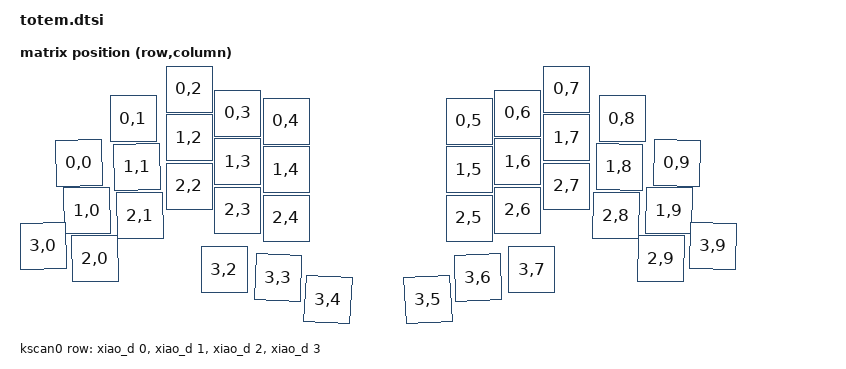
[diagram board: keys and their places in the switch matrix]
/*
 * Copyright (c) 2022 The ZMK Contributors
 *
 * SPDX-License-Identifier: MIT
 */

#include <dt-bindings/zmk/matrix_transform.h>
#include <physical_layouts.dtsi>

/ {
    chosen {
        zmk,kscan = &kscan0;
        zmk,physical-layout = &default_layout;
    };

    default_transform: keymap_transform_0 {
        compatible = "zmk,matrix-transform";
        columns = <10>;
        rows = <4>;
//             | SW01  | SW02  | SW03  | SW04  | SW05  |  | SW05  | SW04  | SW03  | SW02  | SW01  |
//             | SW06  | SW07  | SW08  | SW09  | SW10  |  | SW10  | SW09  | SW08  | SW07  | SW06  |
//      | SW16 | SW11  | SW12  | SW13  | SW14  | SW15  |  | SW15  | SW14  | SW13  | SW12  | SW11  | SW16  |
//                             | SW17  | SW18  | SW19  |  | SW19  | SW18  | SW17  |
        map = <
                RC(0,0) RC(0,1) RC(0,2) RC(0,3) RC(0,4)    RC(0,5) RC(0,6) RC(0,7) RC(0,8) RC(0,9)
                RC(1,0) RC(1,1) RC(1,2) RC(1,3) RC(1,4)    RC(1,5) RC(1,6) RC(1,7) RC(1,8) RC(1,9)
        RC(3,0) RC(2,0) RC(2,1) RC(2,2) RC(2,3) RC(2,4)    RC(2,5) RC(2,6) RC(2,7) RC(2,8) RC(2,9) RC(3,9)
                                RC(3,2) RC(3,3) RC(3,4)    RC(3,5) RC(3,6) RC(3,7)
        >;
    };

    default_layout: default_layout {
        compatible = "zmk,physical-layout";
        display-name = "TOTEM";
        transform = <&default_transform>;
        kscan = <&kscan0>;

        keys  //                     w   h    x    y     rot   rx   ry
            = <&key_physical_attrs 100 100   79  148 (  -100)  129  198>
            , <&key_physical_attrs 100 100  188   59 (   -40)  238  109>
            , <&key_physical_attrs 100 100  300    0 (     0)    0    0>
            , <&key_physical_attrs 100 100  397   48 (     0)    0    0>
            , <&key_physical_attrs 100 100  494   64 (     0)    0    0>
            , <&key_physical_attrs 100 100  860   64 (     0)    0    0>
            , <&key_physical_attrs 100 100  957   48 (     0)    0    0>
            , <&key_physical_attrs 100 100 1055    0 (     0)    0    0>
            , <&key_physical_attrs 100 100 1166   59 (    40) 1216  109>
            , <&key_physical_attrs 100 100 1275  148 (   100) 1325  198>
            , <&key_physical_attrs 100 100   95  243 (  -100)  145  293>
            , <&key_physical_attrs 100 100  195  156 (   -40)  245  206>
            , <&key_physical_attrs 100 100  300   97 (     0)    0    0>
            , <&key_physical_attrs 100 100  397  145 (     0)    0    0>
            , <&key_physical_attrs 100 100  494  161 (     0)    0    0>
            , <&key_physical_attrs 100 100  860  161 (     0)    0    0>
            , <&key_physical_attrs 100 100  957  145 (     0)    0    0>
            , <&key_physical_attrs 100 100 1055   97 (     0)    0    0>
            , <&key_physical_attrs 100 100 1160  156 (    40) 1210  206>
            , <&key_physical_attrs 100 100 1259  243 (   100) 1309  293>
            , <&key_physical_attrs 100 100    8  314 (  -100)   58  364>
            , <&key_physical_attrs 100 100  111  339 (  -100)  161  389>
            , <&key_physical_attrs 100 100  201  253 (   -40)  251  303>
            , <&key_physical_attrs 100 100  300  194 (     0)    0    0>
            , <&key_physical_attrs 100 100  397  242 (     0)    0    0>
            , <&key_physical_attrs 100 100  494  258 (     0)    0    0>
            , <&key_physical_attrs 100 100  860  258 (     0)    0    0>
            , <&key_physical_attrs 100 100  957  242 (     0)    0    0>
            , <&key_physical_attrs 100 100 1055  194 (     0)    0    0>
            , <&key_physical_attrs 100 100 1153  253 (    40) 1203  303>
            , <&key_physical_attrs 100 100 1243  339 (   100) 1293  389>
            , <&key_physical_attrs 100 100 1347  314 (   100) 1397  364>
            , <&key_physical_attrs 100 100  370  361 (     0)    0    0>
            , <&key_physical_attrs 100 100  478  377 (   150)  528  427>
            , <&key_physical_attrs 100 100  577  421 (   300)  627  471>
            , <&key_physical_attrs 100 100  777  421 (  -300)  827  471>
            , <&key_physical_attrs 100 100  877  377 (  -150)  927  427>
            , <&key_physical_attrs 100 100  985  361 (     0)    0    0>
            ;
    };

    kscan0: kscan_0 {
        compatible = "zmk,kscan-gpio-matrix";
        label = "KSCAN";
        
        diode-direction = "col2row"; 
        row-gpios
            = <&xiao_d 0 (GPIO_ACTIVE_HIGH | GPIO_PULL_DOWN)>
            , <&xiao_d 1 (GPIO_ACTIVE_HIGH | GPIO_PULL_DOWN)>
            , <&xiao_d 2 (GPIO_ACTIVE_HIGH | GPIO_PULL_DOWN)>
            , <&xiao_d 3 (GPIO_ACTIVE_HIGH | GPIO_PULL_DOWN)>
            ;
    };
};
